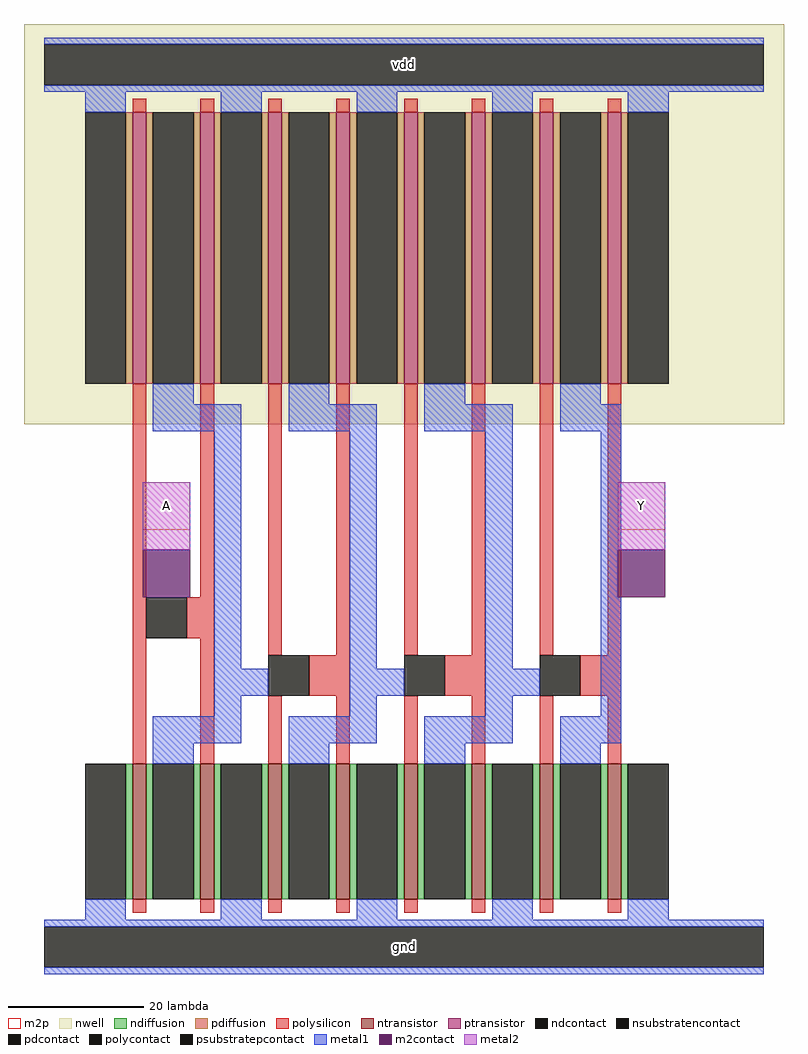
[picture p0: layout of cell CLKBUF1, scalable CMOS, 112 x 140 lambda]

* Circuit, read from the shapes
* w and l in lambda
.subckt CLKBUF1 A Y vdd gnd
M1 n1 A gnd gnd nfet w=20 l=2 m=2
M2 n2 n1 gnd gnd nfet w=20 l=2 m=2
M3 n3 n2 gnd gnd nfet w=20 l=2 m=2
M4 Y n3 gnd gnd nfet w=20 l=2 m=2
M5 n1 A vdd vdd pfet w=40 l=2 m=2
M6 n2 n1 vdd vdd pfet w=40 l=2 m=2
M7 n3 n2 vdd vdd pfet w=40 l=2 m=2
M8 Y n3 vdd vdd pfet w=40 l=2 m=2
.ends

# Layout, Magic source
magic
tech scmos
magscale 1 2
<< nwell >>
rect -12 154 212 272
<< ntransistor >>
rect 20 14 24 54
rect 40 14 44 54
rect 60 14 64 54
rect 80 14 84 54
rect 100 14 104 54
rect 120 14 124 54
rect 140 14 144 54
rect 160 14 164 54
<< ptransistor >>
rect 20 166 24 246
rect 40 166 44 246
rect 60 166 64 246
rect 80 166 84 246
rect 100 166 104 246
rect 120 166 124 246
rect 140 166 144 246
rect 160 166 164 246
<< ndiffusion >>
rect 18 14 20 54
rect 24 14 26 54
rect 38 14 40 54
rect 44 14 46 54
rect 58 14 60 54
rect 64 14 66 54
rect 78 14 80 54
rect 84 14 86 54
rect 98 14 100 54
rect 104 14 106 54
rect 118 14 120 54
rect 124 14 126 54
rect 138 14 140 54
rect 144 14 146 54
rect 158 14 160 54
rect 164 14 166 54
<< pdiffusion >>
rect 18 166 20 246
rect 24 166 26 246
rect 38 166 40 246
rect 44 166 46 246
rect 58 166 60 246
rect 64 166 66 246
rect 78 166 80 246
rect 84 166 86 246
rect 98 166 100 246
rect 104 166 106 246
rect 118 166 120 246
rect 124 166 126 246
rect 138 166 140 246
rect 144 166 146 246
rect 158 166 160 246
rect 164 166 166 246
<< ndcontact >>
rect 6 14 18 54
rect 26 14 38 54
rect 46 14 58 54
rect 66 14 78 54
rect 86 14 98 54
rect 106 14 118 54
rect 126 14 138 54
rect 146 14 158 54
rect 166 14 178 54
<< pdcontact >>
rect 6 166 18 246
rect 26 166 38 246
rect 46 166 58 246
rect 66 166 78 246
rect 86 166 98 246
rect 106 166 118 246
rect 126 166 138 246
rect 146 166 158 246
rect 166 166 178 246
<< psubstratepcontact >>
rect -6 -6 206 6
<< nsubstratencontact >>
rect -6 254 206 266
<< polysilicon >>
rect 20 246 24 250
rect 40 246 44 250
rect 60 246 64 250
rect 80 246 84 250
rect 100 246 104 250
rect 120 246 124 250
rect 140 246 144 250
rect 160 246 164 250
rect 20 54 24 166
rect 40 103 44 166
rect 36 91 44 103
rect 40 54 44 91
rect 60 86 64 166
rect 80 86 84 166
rect 72 74 84 86
rect 60 54 64 74
rect 80 54 84 74
rect 100 86 104 166
rect 120 86 124 166
rect 112 74 124 86
rect 100 54 104 74
rect 120 54 124 74
rect 140 86 144 166
rect 160 86 164 166
rect 152 74 164 86
rect 140 54 144 74
rect 160 54 164 74
rect 20 10 24 14
rect 40 10 44 14
rect 60 10 64 14
rect 80 10 84 14
rect 100 10 104 14
rect 120 10 124 14
rect 140 10 144 14
rect 160 10 164 14
<< polycontact >>
rect 24 91 36 103
rect 60 74 72 86
rect 100 74 112 86
rect 140 74 152 86
<< metal1 >>
rect -6 266 206 268
rect -6 252 206 254
rect 6 246 18 252
rect 46 246 58 252
rect 86 246 98 252
rect 126 246 138 252
rect 166 246 178 252
rect 26 160 38 166
rect 66 160 78 166
rect 106 160 118 166
rect 146 160 158 166
rect 26 152 52 160
rect 66 152 92 160
rect 106 152 132 160
rect 146 152 164 160
rect 44 82 52 152
rect 44 74 60 82
rect 84 82 92 152
rect 84 74 100 82
rect 124 82 132 152
rect 158 117 164 152
rect 158 103 163 117
rect 124 74 140 82
rect 44 68 52 74
rect 84 68 92 74
rect 124 68 132 74
rect 158 68 164 103
rect 26 60 52 68
rect 66 60 92 68
rect 106 60 132 68
rect 146 60 164 68
rect 26 54 38 60
rect 66 54 78 60
rect 106 54 118 60
rect 146 54 158 60
rect 6 8 18 14
rect 46 8 58 14
rect 86 8 98 14
rect 126 8 138 14
rect 166 8 178 14
rect -6 6 206 8
rect -6 -8 206 -6
<< m2contact >>
rect 23 103 37 117
rect 163 103 177 117
<< metal2 >>
rect 23 117 37 137
rect 163 117 177 137
<< m2p >>
rect 23 123 37 137
rect 163 123 177 137
<< labels >>
rlabel metal2 23 123 37 137 0 A
port 0 nsew signal input
rlabel metal2 163 123 177 137 0 Y
port 1 nsew signal output
rlabel metal1 -6 252 206 268 0 vdd
port 2 nsew power bidirectional abutment
rlabel metal1 -6 -8 206 8 0 gnd
port 3 nsew ground bidirectional abutment
<< properties >>
string FIXED_BBOX 0 0 200 260
string LEFclass CORE
string LEFsite core
string LEFsymmetry X Y
<< end >>
